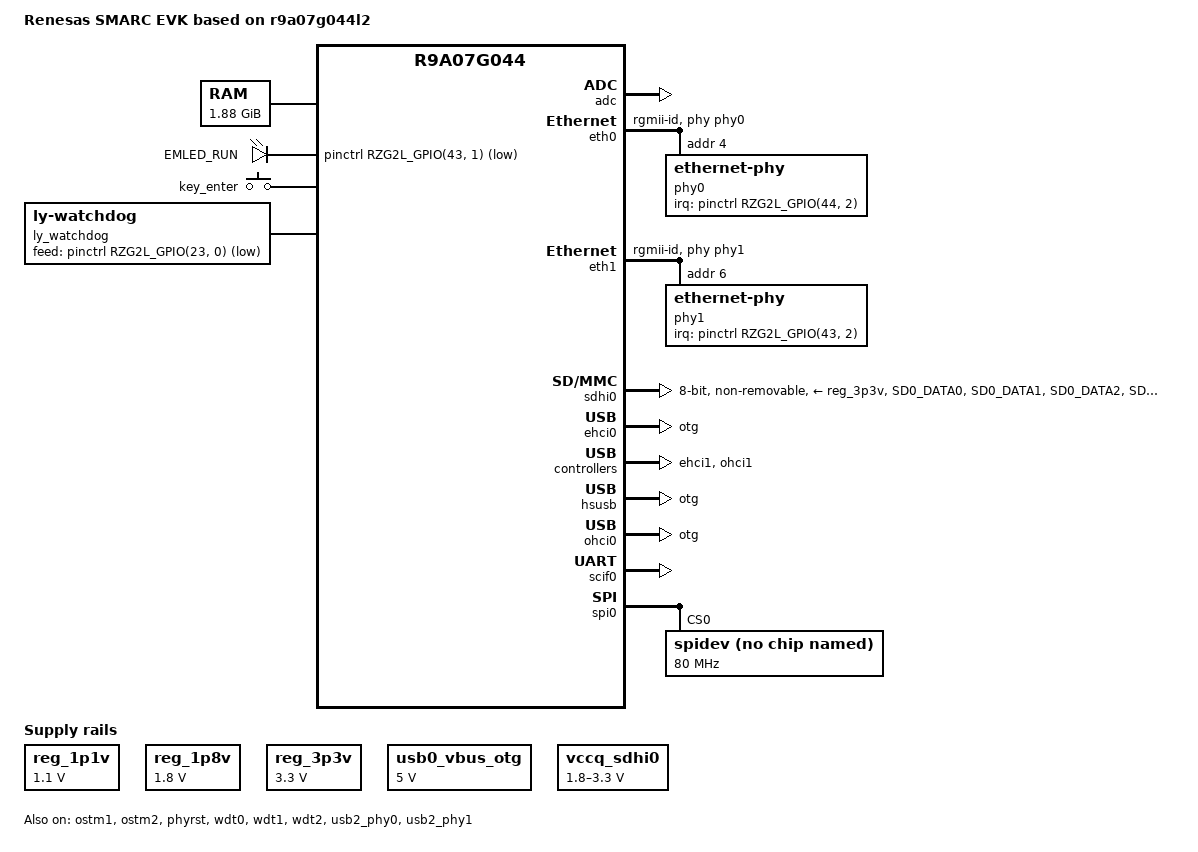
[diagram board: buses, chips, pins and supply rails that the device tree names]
// SPDX-License-Identifier: (GPL-2.0-only OR BSD-2-Clause)
/*
 * Device Tree Source for the RZ/G2L SMARC EVK board
 *
 * Copyright (C) 2021 Renesas Electronics Corp.
 */
#include "r9a07g044l2.dtsi"

#include <dt-bindings/gpio/gpio.h>
#include <dt-bindings/pinctrl/rzg2l-pinctrl.h>
#include <dt-bindings/input/input.h>

/ {
	model = "Renesas SMARC EVK based on r9a07g044l2";
	compatible = "renesas,smarc-evk", "renesas,r9a07g044l2", "renesas,r9a07g044";

	aliases {
		ethernet0 = &eth0;
		ethernet1 = &eth1;

		serial0 = &scif0;
		serial1 = &scif1;
		serial2 = &scif2;
		serial3 = &scif3;
		serial4 = &scif4;

		i2c0 = &i2c0;
		i2c1 = &i2c1;

		mmc0 = &sdhi0;
		mmc1 = &sdhi1;
	};

	chosen {
		stdout-path = "serial0:115200n8";
	};

	memory@48000000 {
		device_type = "memory";
		/* first 128MB is reserved for secure area. */
		reg = <0x0 0x48000000 0x0 0x78000000>;
	};

	reserved-memory {
		#address-cells = <2>;
		#size-cells = <2>;
		ranges;

		global_cma: linux,cma@58000000 {
			compatible = "shared-dma-pool";
			linux,cma-default;
			reusable;
			reg = <0x0 0x58000000 0x0 0x10000000>;
		};
		mmp_reserved: linux,multimedia {
			compatible = "shared-dma-pool";
			reusable;
			reg = <0x00000000 0x68000000 0x0 0x8000000>;
		};
	};

	mmngr {
		compatible = "renesas,mmngr";
		memory-region = <&mmp_reserved>;
	};

	mmngrbuf {
		compatible = "renesas,mmngrbuf";
	};

	vspm_if {
		compatible = "renesas,vspm_if";
	};

	reg_1p1v: regulator-vdd-core {
		compatible = "regulator-fixed";
		regulator-name = "fixed-1.1V";
		regulator-min-microvolt = <1100000>;
		regulator-max-microvolt = <1100000>;
		regulator-boot-on;
		regulator-always-on;
	};

	reg_1p8v: regulator0 {
		compatible = "regulator-fixed";
		regulator-name = "fixed-1.8V";
		regulator-min-microvolt = <1800000>;
		regulator-max-microvolt = <1800000>;
		regulator-boot-on;
		regulator-always-on;
	};

	reg_3p3v: regulator1 {
		compatible = "regulator-fixed";
		regulator-name = "fixed-3.3V";
		regulator-min-microvolt = <3300000>;
		regulator-max-microvolt = <3300000>;
		regulator-boot-on;
		regulator-always-on;
	};

	usb0_vbus_otg: regulator-usb0-vbus-otg {
		compatible = "regulator-fixed";

		regulator-name = "USB0_VBUS_OTG";
		regulator-min-microvolt = <5000000>;
		regulator-max-microvolt = <5000000>;
	};

	vccq_sdhi0: regulator-vccq-sdhi0 {
		compatible = "regulator-gpio";

		regulator-name = "SDHI0 VccQ";
		regulator-min-microvolt = <1800000>;
		regulator-max-microvolt = <3300000>;
		states = <3300000 1>, <1800000 0>;
		regulator-boot-on;
		gpios = <&pinctrl RZG2L_GPIO(39, 0) GPIO_ACTIVE_HIGH>;
		regulator-always-on;
	};

	/* 32.768kHz crystal */
	x2: x2-clock {
		compatible = "fixed-clock";
		#clock-cells = <0>;
		clock-frequency = <32768>;
	};

	leds {
		compatible = "gpio-leds";

		emled_run {
			gpios = <&pinctrl RZG2L_GPIO(43, 1) GPIO_ACTIVE_LOW>;
			label = "EMLED_RUN";
			default-state = "on";
			linux,default-trigger = "none";
		};
	};

	keyboard {
		compatible = "gpio-keys";
		status = "okay";

		key-enter {
			interrupt-parent = <&pinctrl>;
			interrupts = <RZG2L_GPIO(1, 0) IRQ_TYPE_LEVEL_LOW>;
			linux,code = <KEY_ENTER>;
			debounce-interval = <10>;
			label = "key_enter";
		};
	};

	ly_st75161 {
		compatible = "ly-st75161";
		lcd-A0-gpios = <&pinctrl RZG2L_GPIO(40, 2) GPIO_ACTIVE_LOW>;
		lcd-SCLK-gpios = <&pinctrl RZG2L_GPIO(40, 2) GPIO_ACTIVE_LOW>;
		lcd-MOSI-gpios = <&pinctrl RZG2L_GPIO(40, 2) GPIO_ACTIVE_LOW>;
		lcd-CSB-gpios = <&pinctrl RZG2L_GPIO(40, 2) GPIO_ACTIVE_LOW>;
		lcd-RSTB-gpios = <&pinctrl RZG2L_GPIO(40, 2) GPIO_ACTIVE_LOW>;
		lcd-BL-gpios = <&pinctrl RZG2L_GPIO(40, 2) GPIO_ACTIVE_LOW>;
		status = "disabled";
	};

	ly_power {
		compatible = "ly-power";
		battery-gpios = <&pinctrl RZG2L_GPIO(23, 0) GPIO_ACTIVE_LOW>;
		capacitor-gpios = <&pinctrl RZG2L_GPIO(4, 1) GPIO_ACTIVE_LOW>;
		pfi-gpios = <&pinctrl RZG2L_GPIO(40, 2) GPIO_ACTIVE_LOW>;
		status = "disabled";
	};

	ly_watchdog {
		compatible = "ly-watchdog";
		feed-gpios = <&pinctrl RZG2L_GPIO(23, 0) GPIO_ACTIVE_LOW>;
		status = "okay";
	};
};

&adc {
	pinctrl-0 = <&adc_pins>;
	pinctrl-names = "default";
	status = "okay";

	/delete-node/ channel@6;
	/delete-node/ channel@7;
};

&eth0 {
	pinctrl-0 = <&eth0_pins>;
	pinctrl-names = "default";
	phy-handle = <&phy0>;
	phy-mode = "rgmii-id";
	status = "okay";

	phy0: ethernet-phy@4 {
		reg = <4>;
		rxc-skew-psec = <2400>;
		txc-skew-psec = <2400>;
		rxdv-skew-psec = <0>;
		txen-skew-psec = <0>;
		rxd0-skew-psec = <0>;
		rxd1-skew-psec = <0>;
		rxd2-skew-psec = <0>;
		rxd3-skew-psec = <0>;
		txd0-skew-psec = <0>;
		txd1-skew-psec = <0>;
		txd2-skew-psec = <0>;
		txd3-skew-psec = <0>;

		interrupt-parent = <&pinctrl>;
		interrupts = <RZG2L_GPIO(44, 2) IRQ_TYPE_LEVEL_LOW>;
	};
};

&eth1 {
	pinctrl-0 = <&eth1_pins>;
	pinctrl-names = "default";
	phy-handle = <&phy1>;
	phy-mode = "rgmii-id";
	status = "okay";

	phy1: ethernet-phy@6 {
		reg = <6>;
		rxc-skew-psec = <2400>;
		txc-skew-psec = <2400>;
		rxdv-skew-psec = <0>;
		txen-skew-psec = <0>;
		rxd0-skew-psec = <0>;
		rxd1-skew-psec = <0>;
		rxd2-skew-psec = <0>;
		rxd3-skew-psec = <0>;
		txd0-skew-psec = <0>;
		txd1-skew-psec = <0>;
		txd2-skew-psec = <0>;
		txd3-skew-psec = <0>;

		interrupt-parent = <&pinctrl>;
		interrupts = <RZG2L_GPIO(43, 2) IRQ_TYPE_LEVEL_LOW>;
	};
};

&extal_clk {
	clock-frequency = <24000000>;
};

&ostm1 {
	status = "okay";
};

&ostm2 {
	status = "okay";
};

&pinctrl {
	adc_pins: adc {
		pinmux = <RZG2L_PORT_PINMUX(9, 0, 2)>; /* ADC_TRG */
	};

	eth0_pins: eth0 {
		txc {
			pinmux = <RZG2L_PORT_PINMUX(20, 0, 1)>; /* ET0_TXC */
			power-source = <1800>;
			output-enable;
		};

		mux {
			pinmux = <RZG2L_PORT_PINMUX(28, 1, 1)>, /* ET0_LINKSTA */
				 <RZG2L_PORT_PINMUX(27, 1, 1)>, /* ET0_MDC */
				 <RZG2L_PORT_PINMUX(28, 0, 1)>, /* ET0_MDIO */
				 <RZG2L_PORT_PINMUX(20, 1, 1)>, /* ET0_TX_CTL */
				 <RZG2L_PORT_PINMUX(20, 2, 1)>, /* ET0_TXD0 */
				 <RZG2L_PORT_PINMUX(21, 0, 1)>, /* ET0_TXD1 */
				 <RZG2L_PORT_PINMUX(21, 1, 1)>, /* ET0_TXD2 */
				 <RZG2L_PORT_PINMUX(22, 0, 1)>, /* ET0_TXD3 */
				 <RZG2L_PORT_PINMUX(24, 0, 1)>, /* ET0_RXC */
				 <RZG2L_PORT_PINMUX(24, 1, 1)>, /* ET0_RX_CTL */
				 <RZG2L_PORT_PINMUX(25, 0, 1)>, /* ET0_RXD0 */
				 <RZG2L_PORT_PINMUX(25, 1, 1)>, /* ET0_RXD1 */
				 <RZG2L_PORT_PINMUX(26, 0, 1)>, /* ET0_RXD2 */
				 <RZG2L_PORT_PINMUX(26, 1, 1)>; /* ET0_RXD3 */
			power-source = <1800>;
		};
	};

	eth1_pins: eth1 {
		txc {
			pinmux = <RZG2L_PORT_PINMUX(29, 0, 1)>; /* ET0_TXC */
			power-source = <1800>;
			output-enable;
		};

		mux {
			pinmux = <RZG2L_PORT_PINMUX(37, 2, 1)>, /* ET1_LINKSTA */
				 <RZG2L_PORT_PINMUX(37, 0, 1)>, /* ET1_MDC */
				 <RZG2L_PORT_PINMUX(37, 1, 1)>, /* ET1_MDIO */
				 <RZG2L_PORT_PINMUX(29, 1, 1)>, /* ET1_TX_CTL */
				 <RZG2L_PORT_PINMUX(30, 0, 1)>, /* ET1_TXD0 */
				 <RZG2L_PORT_PINMUX(30, 1, 1)>, /* ET1_TXD1 */
				 <RZG2L_PORT_PINMUX(31, 0, 1)>, /* ET1_TXD2 */
				 <RZG2L_PORT_PINMUX(31, 1, 1)>, /* ET1_TXD3 */
				 <RZG2L_PORT_PINMUX(33, 1, 1)>, /* ET1_RXC */
				 <RZG2L_PORT_PINMUX(34, 0, 1)>, /* ET1_RX_CTL */
				 <RZG2L_PORT_PINMUX(34, 1, 1)>, /* ET1_RXD0 */
				 <RZG2L_PORT_PINMUX(35, 0, 1)>, /* ET1_RXD1 */
				 <RZG2L_PORT_PINMUX(35, 1, 1)>, /* ET1_RXD2 */
				 <RZG2L_PORT_PINMUX(36, 0, 1)>; /* ET1_RXD3 */
			power-source = <1800>;
		};
	};

	sdhi0_emmc_pins: sd0emmc {
		sd0_emmc_data {
			pins = "SD0_DATA0", "SD0_DATA1", "SD0_DATA2", "SD0_DATA3",
			       "SD0_DATA4", "SD0_DATA5", "SD0_DATA6", "SD0_DATA7";
			power-source = <1800>;
		};

		sd0_emmc_ctrl {
			pins = "SD0_CLK", "SD0_CMD";
			power-source = <1800>;
		};

		sd0_emmc_rst {
			pins = "SD0_RST#";
			power-source = <1800>;
		};
	};

	scif0_pins: scif0 {
		pinmux = <RZG2L_PORT_PINMUX(38, 0, 1)>,	/* TxD */
			 <RZG2L_PORT_PINMUX(38, 1, 1)>;	/* RxD */
	};

	scif1_pins: scif1 {
		pinmux = <RZG2L_PORT_PINMUX(40, 0, 1)>,	/* TxD */
			 <RZG2L_PORT_PINMUX(40, 1, 1)>;	/* RxD */
	};

	scif2_pins: scif2 {
		pinmux = <RZG2L_PORT_PINMUX(48, 0, 1)>,	/* TxD */
			 <RZG2L_PORT_PINMUX(48, 1, 1)>;	/* RxD */
	};

	scif3_pins: scif3 {
		pinmux = <RZG2L_PORT_PINMUX(0, 0, 5)>,	/* TxD */
			 <RZG2L_PORT_PINMUX(0, 1, 5)>;	/* RxD */
	};

	scif4_pins: scif4 {
		pinmux = <RZG2L_PORT_PINMUX(2, 0, 5)>,	/* TxD */
			 <RZG2L_PORT_PINMUX(2, 1, 5)>;	/* RxD */
	};

	usb0_pins: usb0 {
		pinmux = <RZG2L_PORT_PINMUX(4, 0, 1)>, /* VBUS */
			 <RZG2L_PORT_PINMUX(5, 0, 1)>, /* OVC */
			 <RZG2L_PORT_PINMUX(5, 1, 1)>; /* OTG_ID */
	};

	usb1_pins: usb1 {
		pinmux = <RZG2L_PORT_PINMUX(42, 0, 1)>, /* VBUS */
			 <RZG2L_PORT_PINMUX(42, 1, 1)>; /* OVC */
	};

	spi0_pins: spi0 {
		pinmux = <RZG2L_PORT_PINMUX(47, 0, 5)>,
			<RZG2L_PORT_PINMUX(47, 1, 5)>,
			<RZG2L_PORT_PINMUX(47, 2, 5)>,
			<RZG2L_PORT_PINMUX(47, 3, 5)>;
	};
};

&sdhi0 {
	pinctrl-0 = <&sdhi0_emmc_pins>;
	pinctrl-1 = <&sdhi0_emmc_pins>;
	pinctrl-names = "default", "state_uhs";

	vmmc-supply = <&reg_3p3v>;
	vqmmc-supply = <&reg_1p8v>;
	bus-width = <8>;
	mmc-hs200-1_8v;
	non-removable;
	fixed-emmc-driver-type = <1>;
	status = "okay";
};

&ehci0 {
	dr_mode = "otg";
	status = "okay";

	memory-region = <&global_cma>;
};

&ehci1 {
	status = "okay";

	memory-region = <&global_cma>;
};

&hsusb {
	dr_mode = "otg";
	status = "okay";
};

&ohci0 {
	dr_mode = "otg";
	status = "okay";

	memory-region = <&global_cma>;
};

&ohci1 {
	status = "okay";

	memory-region = <&global_cma>;
};

&phyrst {
	status = "okay";
};

&wdt0 {
	status = "okay";
	timeout-sec = <60>;
};

&wdt1 {
	status = "okay";
	timeout-sec = <60>;
};

&wdt2 {
	status = "okay";
	timeout-sec = <60>;
};

&gpu {
	mali-supply = <&reg_1p1v>;
};

&scif0 {
	pinctrl-0 = <&scif0_pins>;
	pinctrl-names = "default";
	status = "okay";
};

&scif1 {
	pinctrl-0 = <&scif1_pins>;
	pinctrl-names = "default";
	status = "disabled";
};

&scif2 {
	pinctrl-0 = <&scif2_pins>;
	pinctrl-names = "default";
	status = "disabled";
};

&scif3 {
	pinctrl-0 = <&scif3_pins>;
	pinctrl-names = "default";
	status = "disabled";
};

&scif4 {
	pinctrl-0 = <&scif4_pins>;
	pinctrl-names = "default";
	status = "disabled";
};

&usb2_phy0 {
	pinctrl-0 = <&usb0_pins>;
	pinctrl-names = "default";

	vbus-supply = <&usb0_vbus_otg>;
	status = "okay";
};

&usb2_phy1 {
	pinctrl-0 = <&usb1_pins>;
	pinctrl-names = "default";

	status = "okay";
};

&spi0 {
	pinctrl-0 = <&spi0_pins>;
	pinctrl-names = "default";
	status = "okay";
	spidev@0 {
		compatible = "rohm,dh2228fv";
		spi-max-frequency = <80000000>;
		reg = <0>;
	};
};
